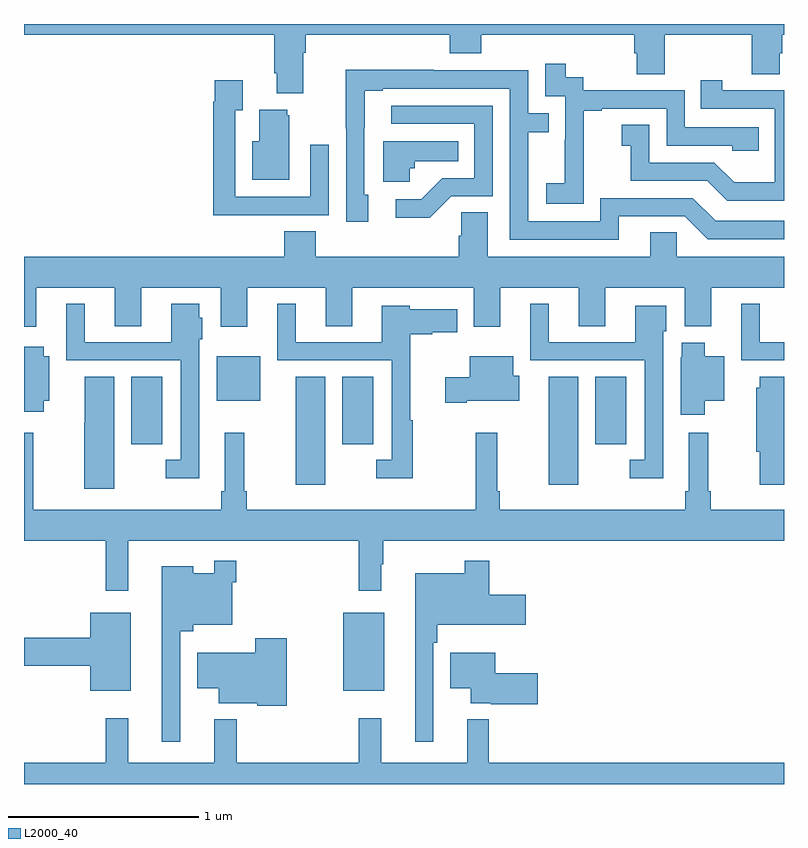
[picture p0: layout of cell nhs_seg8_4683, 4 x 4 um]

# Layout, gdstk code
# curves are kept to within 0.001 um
import gdstk
lib = gdstk.Library(unit=1e-6, precision=1e-09)
def R(c, l, rs):  # rectangles x0, y0, x1, y1
    for r in rs: c.add(gdstk.rectangle(r[:2], r[2:], *l))
def P(c, l, *ps):  # polygons
    for p in ps: c.add(gdstk.Polygon(p, *l))
L2000_40 = (2000, 40)

nhs_seg8_4683 = lib.new_cell('nhs_seg8_4683')
R(nhs_seg8_4683, L2000_40, [(396.68,1102.391,396.895,1102.801), (396.431,1103.475,396.586,1104.044), (397.763,1103.475,397.918,1104.044), (395.564,1103.688,395.728,1104.044), (396.674,1103.688,396.838,1104.044), (398.006,1103.688,398.17,1104.044), (396.014,1103.918,396.244,1104.151)])
P(nhs_seg8_4683, L2000_40, [(396.469,1105.748),(396.482,1105.748),(396.482,1105.844),(397.241,1105.844),(397.241,1105.745),(397.406,1105.745),(397.406,1105.844),(398.213,1105.844),(398.213,1105.746),(398.225,1105.746),(398.225,1105.636),(398.373,1105.636),(398.373,1105.844),(398.83,1105.844),(398.83,1105.636),(398.977,1105.636),(398.977,1105.746),(398.99,1105.746),(398.99,1105.844),(399,1105.844),(399,1105.9),(395,1105.9),(395,1105.844),(396.317,1105.844),(396.317,1105.642),(396.329,1105.642),(396.329,1105.535),(396.469,1105.535)],
  [(397.947,1105.159),(397.946,1105.159),(397.946,1105.443),(398.041,1105.443),(398.041,1105.455),(398.382,1105.455),(398.382,1105.26),(398.727,1105.26),(398.727,1105.233),(398.867,1105.233),(398.867,1105.356),(398.478,1105.356),(398.478,1105.551),(397.944,1105.551),(397.944,1105.62),(397.852,1105.62),(397.852,1105.69),(397.743,1105.69),(397.743,1105.521),(397.848,1105.521),(397.848,1105.292),(397.847,1105.292),(397.847,1105.063),(397.749,1105.063),(397.749,1104.953),(397.947,1104.953)],
  [(398.131,1104.888),(398.478,1104.888),(398.598,1104.768),(399,1104.768),(399,1104.864),(398.64,1104.864),(398.52,1104.984),(398.034,1104.984),(398.034,1104.861),(397.653,1104.861),(397.653,1105.33),(397.763,1105.33),(397.763,1105.431),(397.653,1105.431),(397.653,1105.656),(397.157,1105.656),(397.157,1105.658),(396.694,1105.658),(396.694,1105.351),(396.696,1105.351),(396.696,1104.858),(396.811,1104.858),(396.811,1105.002),(396.792,1105.002),(396.793,1105.548),(396.889,1105.548),(396.889,1105.56),(397.557,1105.56),(397.557,1104.765),(398.131,1104.765)],
  [(396.287,1104.894),(396.603,1104.894),(396.603,1105.264),(396.507,1105.264),(396.507,1104.99),(396.111,1104.99),(396.111,1105.447),(396.151,1105.447),(396.151,1105.603),(396.003,1105.603),(396.003,1105.49),(395.995,1105.49),(395.995,1104.893),(396.287,1104.893)],
  [(399,1105.551),(398.674,1105.551),(398.674,1105.603),(398.563,1105.603),(398.563,1105.455),(398.952,1105.455),(398.952,1105.066),(398.738,1105.066),(398.634,1105.17),(398.292,1105.17),(398.292,1105.369),(398.145,1105.369),(398.145,1105.259),(398.194,1105.259),(398.194,1105.074),(398.597,1105.074),(398.702,1104.969),(399,1104.969)],
  [(397.248,1104.993),(397.467,1104.993),(397.467,1105.47),(396.933,1105.47),(396.933,1105.374),(397.371,1105.374),(397.371,1105.089),(397.202,1105.089),(397.091,1104.978),(396.957,1104.978),(396.957,1104.881),(397.135,1104.881)],
  [(396.397,1105.419),(396.386,1105.419),(396.386,1105.45),(396.239,1105.45),(396.239,1105.282),(396.2,1105.282),(396.2,1105.079),(396.397,1105.079)],
  [(397.029,1105.14),(397.056,1105.14),(397.056,1105.178),(397.286,1105.178),(397.286,1105.282),(396.89,1105.282),(396.89,1105.07),(397.029,1105.07)],
  [(395,1104.306),(395.065,1104.306),(395.065,1104.512),(395.477,1104.512),(395.477,1104.31),(395.617,1104.31),(395.617,1104.512),(396.035,1104.512),(396.035,1104.306),(396.175,1104.306),(396.175,1104.512),(396.587,1104.512),(396.587,1104.31),(396.727,1104.31),(396.727,1104.512),(397.367,1104.512),(397.367,1104.306),(397.507,1104.306),(397.507,1104.512),(397.919,1104.512),(397.919,1104.31),(398.059,1104.31),(398.059,1104.512),(398.477,1104.512),(398.477,1104.308),(398.617,1104.308),(398.617,1104.512),(399,1104.512),(399,1104.676),(398.436,1104.676),(398.436,1104.803),(398.297,1104.803),(398.297,1104.676),(397.441,1104.676),(397.441,1104.908),(397.302,1104.908),(397.302,1104.785),(397.289,1104.785),(397.289,1104.676),(396.536,1104.676),(396.536,1104.809),(396.371,1104.809),(396.371,1104.676),(395,1104.676)],
  [(397.045,1103.814),(397.034,1103.814),(397.034,1104.266),(397.148,1104.266),(397.148,1104.278),(397.279,1104.278),(397.279,1104.4),(397.029,1104.4),(397.029,1104.418),(396.884,1104.418),(396.884,1104.225),(396.43,1104.225),(396.43,1104.427),(396.332,1104.427),(396.332,1104.129),(396.936,1104.129),(396.936,1103.607),(396.855,1103.607),(396.855,1103.51),(397.045,1103.51)],
  [(395.923,1103.736),(395.922,1103.736),(395.922,1104.24),(395.938,1104.24),(395.938,1104.354),(395.923,1104.354),(395.923,1104.427),(395.774,1104.427),(395.774,1104.225),(395.32,1104.225),(395.32,1104.427),(395.222,1104.427),(395.222,1104.129),(395.826,1104.129),(395.826,1103.607),(395.745,1103.607),(395.745,1103.51),(395.923,1103.51)],
  [(399,1104.225),(398.872,1104.225),(398.872,1104.427),(398.774,1104.427),(398.774,1104.129),(399,1104.129)],
  [(398.365,1103.736),(398.364,1103.736),(398.364,1104.282),(398.38,1104.282),(398.38,1104.418),(398.216,1104.418),(398.216,1104.225),(397.762,1104.225),(397.762,1104.427),(397.664,1104.427),(397.664,1104.129),(398.268,1104.129),(398.268,1103.607),(398.187,1103.607),(398.187,1103.51),(398.365,1103.51)],
  [(398.584,1103.918),(398.686,1103.918),(398.686,1104.151),(398.584,1104.151),(398.584,1104.223),(398.462,1104.223),(398.462,1104.147),(398.456,1104.147),(398.456,1103.843),(398.584,1103.843)],
  [(395.104,1103.918),(395.134,1103.918),(395.134,1104.151),(395.104,1104.151),(395.104,1104.202),(395,1104.202),(395,1103.858),(395.104,1103.858)],
  [(397.33,1103.918),(397.606,1103.918),(397.606,1104.048),(397.576,1104.048),(397.576,1104.151),(397.346,1104.151),(397.346,1104.04),(397.218,1104.04),(397.218,1103.906),(397.33,1103.906)],
  [(399,1104.044),(398.873,1104.044),(398.873,1103.985),(398.855,1103.985),(398.855,1103.649),(398.873,1103.649),(398.873,1103.475),(399,1103.475)],
  [(395.476,1104.044),(395.321,1104.044),(395.321,1103.802),(395.318,1103.802),(395.318,1103.454),(395.476,1103.454)],
  [(395.548,1103.18),(396.763,1103.18),(396.763,1102.917),(396.88,1102.917),(396.88,1103.057),(396.892,1103.057),(396.892,1103.18),(399,1103.18),(399,1103.344),(398.615,1103.344),(398.615,1103.44),(398.6,1103.44),(398.6,1103.749),(398.498,1103.749),(398.498,1103.44),(398.479,1103.44),(398.479,1103.344),(397.505,1103.344),(397.505,1103.44),(397.49,1103.44),(397.49,1103.749),(397.377,1103.749),(397.377,1103.344),(396.173,1103.344),(396.173,1103.44),(396.158,1103.44),(396.158,1103.749),(396.056,1103.749),(396.056,1103.44),(396.037,1103.44),(396.037,1103.344),(395.048,1103.344),(395.048,1103.749),(395,1103.749),(395,1103.18),(395.431,1103.18),(395.431,1102.917),(395.548,1102.917)],
  [(397.155,1102.643),(397.175,1102.643),(397.175,1102.739),(397.642,1102.739),(397.642,1102.897),(397.448,1102.897),(397.448,1103.074),(397.32,1103.074),(397.32,1103.008),(397.058,1103.008),(397.058,1102.122),(397.155,1102.122)],
  [(395.823,1102.703),(395.89,1102.703),(395.89,1102.739),(396.096,1102.739),(396.096,1102.961),(396.116,1102.961),(396.116,1103.074),(396,1103.074),(396,1103.008),(395.89,1103.008),(395.89,1103.047),(395.726,1103.047),(395.726,1102.122),(395.823,1102.122)],
  [(395.563,1102.801),(395.348,1102.801),(395.348,1102.67),(395,1102.67),(395,1102.523),(395.348,1102.523),(395.348,1102.391),(395.563,1102.391)],
  [(396.382,1102.666),(396.217,1102.666),(396.217,1102.591),(395.912,1102.591),(395.912,1102.403),(396.026,1102.403),(396.026,1102.325),(396.228,1102.325),(396.228,1102.313),(396.382,1102.313)],
  [(397.705,1102.483),(397.48,1102.483),(397.48,1102.591),(397.244,1102.591),(397.244,1102.403),(397.352,1102.403),(397.352,1102.325),(397.456,1102.325),(397.456,1102.32),(397.705,1102.32)],
  [(396.763,1102.012),(396.119,1102.012),(396.119,1102.24),(396.002,1102.24),(396.002,1102.012),(395.549,1102.012),(395.549,1102.246),(395.431,1102.246),(395.431,1102.012),(395,1102.012),(395,1101.9),(399,1101.9),(399,1102.012),(397.446,1102.012),(397.446,1102.24),(397.334,1102.24),(397.334,1102.012),(396.881,1102.012),(396.881,1102.246),(396.763,1102.246)])

lib.write_gds('nhs_seg8_4683.gds')
